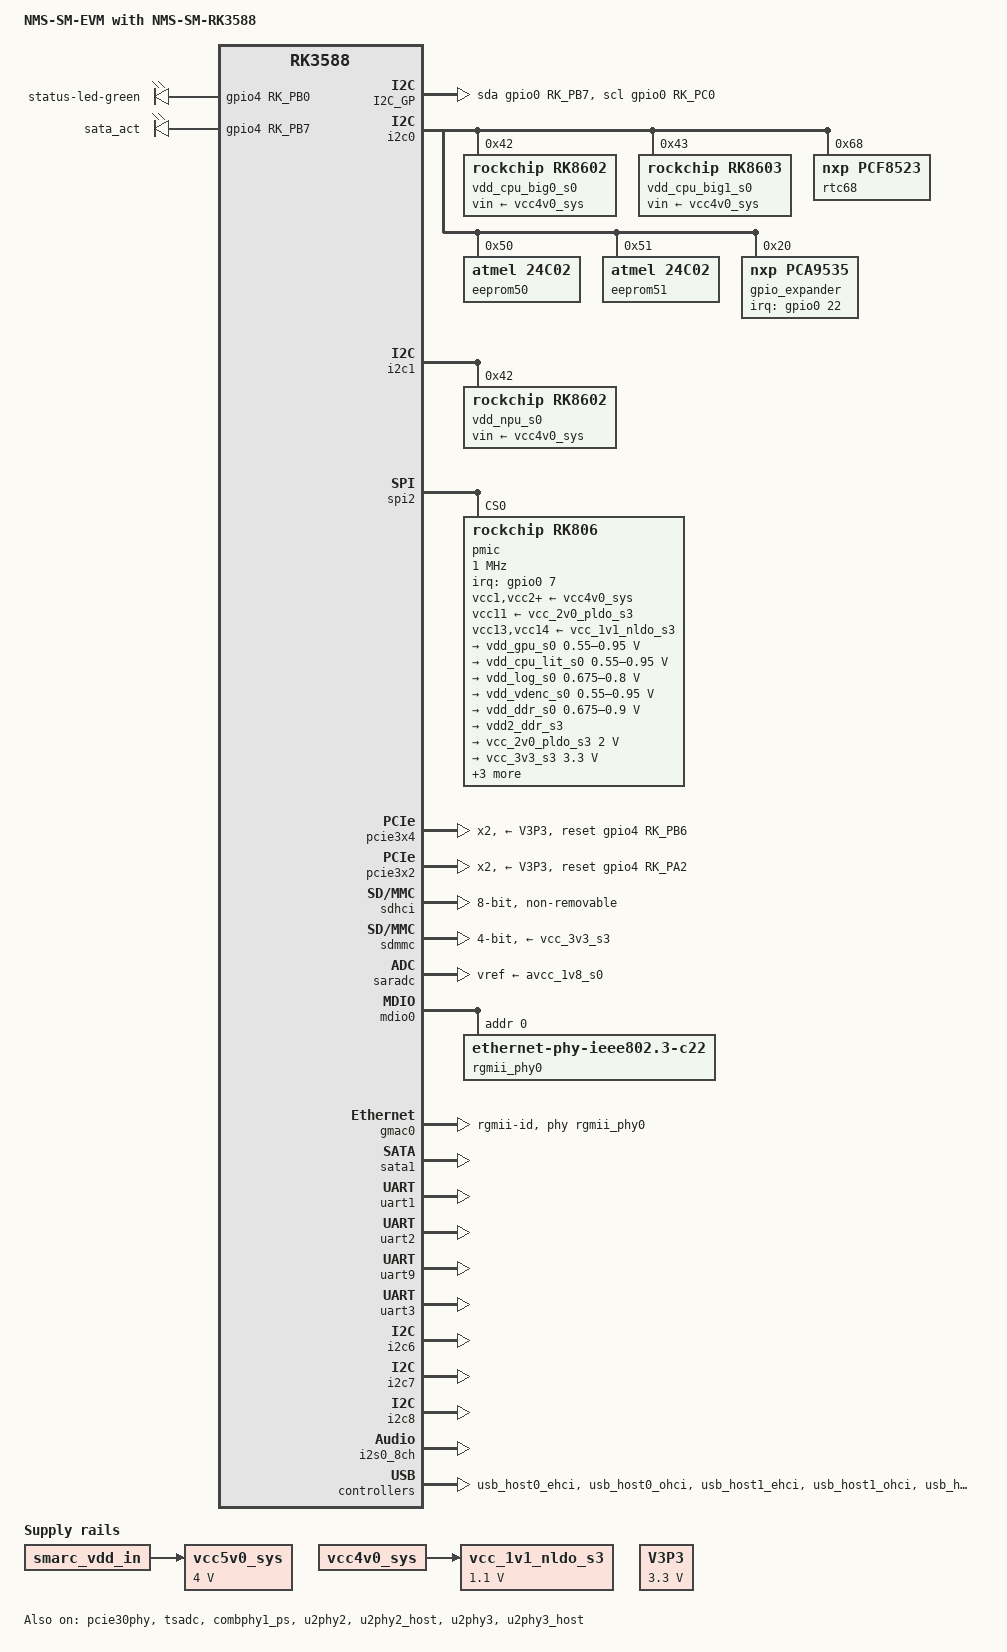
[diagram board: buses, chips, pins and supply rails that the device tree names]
// SPDX-License-Identifier: (GPL-2.0+ OR MIT)

/dts-v1/;

#include <dt-bindings/gpio/gpio.h>
#include <dt-bindings/leds/common.h>
#include "rk3588.dtsi"

#define SATA 1

#define GBE0 1
#define GBE1 0

#define SDIO 1


/ {
	model = "NMS-SM-EVM with NMS-SM-RK3588";
	compatible = "inmys,rk3588-smarc-evm", "rockchip,rk3588";

	chosen {
		stdout-path = "serial2:1500000n8";
	};

	aliases {
		mmc0 = &sdhci; /*emmc*/
		mmc1 = &sdmmc; /*sdcard*/
		ethernet0 = &gmac0; /*SMARC: GBE0*/
		ethernet1 = &gmac1; /*SMARC: GBE1*/
	};

	gpio_leds: gpio-leds {
		compatible = "gpio-leds";
		pinctrl-names = "default";
		
		status-led-green {
			gpios = <&gpio4 RK_PB0 GPIO_ACTIVE_HIGH>;
			linux,default-trigger = "heartbeat";
			default-state = "on";
		};
	};
};

/* power supply */
/{
	V3P3: SMARC_CARRIER_PWR_ON {
		/* enable 3v3 main power on mother board, by pmic pin "EXT_EN" */
		/* CARRIER_PWR_ON->S154->CARRIER_PWR_ON */
		compatible = "regulator-fixed";
		regulator-name = "SMARC_CARRIER_PWR_ON";
		regulator-min-microvolt = <3300000>;
		regulator-max-microvolt = <3300000>;
		regulator-boot-on;
	};

	vcc5v0_sys: vcc4v0_sys: vcc4v0-sys-regulator {
		/* RT5789AGQUF: input: smarc_vdd_in, output: 4V (rockcip rk806 recomendation) */
		compatible = "regulator-fixed";
		regulator-name = "vcc4v0_sys";
		regulator-always-on;
		regulator-boot-on;
		regulator-min-microvolt = <4000000>;
		regulator-max-microvolt = <4000000>;
		vin-supply = <&smarc_vdd_in>;
	};

	vcc_1v1_nldo_s3: vcc-1v1-nldo-s3-regulator {
		compatible = "regulator-fixed";
		regulator-name = "vcc_1v1_nldo_s3";
		regulator-always-on;
		regulator-boot-on;
		regulator-min-microvolt = <1100000>;
		regulator-max-microvolt = <1100000>;
		vin-supply = <&vcc4v0_sys>;
	};
};


&i2c0 {
	pinctrl-names = "default";
	pinctrl-0 = <&i2c0m2_xfer>;
	status = "okay";

	vdd_cpu_big0_s0: regulator@42 {
		compatible = "rockchip,rk8602";
		reg = <0x42>;
		fcs,suspend-voltage-selector = <1>;
		regulator-name = "vdd_cpu_big0_s0";
		regulator-always-on;
		regulator-boot-on;
		regulator-min-microvolt = <675000>;
		regulator-max-microvolt = <1050000>;
		regulator-ramp-delay = <2300>;
		vin-supply = <&vcc4v0_sys>;

		regulator-state-mem {
			regulator-off-in-suspend;
		};
	};

	vdd_cpu_big1_s0: regulator@43 {
		compatible = "rockchip,rk8603", "rockchip,rk8602";
		reg = <0x43>;
		fcs,suspend-voltage-selector = <1>;
		regulator-name = "vdd_cpu_big1_s0";
		regulator-always-on;
		regulator-boot-on;
		regulator-min-microvolt = <675000>;
		regulator-max-microvolt = <1050000>;
		regulator-ramp-delay = <2300>;
		vin-supply = <&vcc4v0_sys>;

		regulator-state-mem {
			regulator-off-in-suspend;
		};
	};
	/* i2c0 has other devices - see bellow! */
};

&i2c1 {
	pinctrl-names = "default";
	pinctrl-0 = <&i2c1m2_xfer>;
	status = "okay";

	vdd_npu_s0: regulator@42 {
		compatible = "rockchip,rk8602";
		reg = <0x42>;
		fcs,suspend-voltage-selector = <1>;
		regulator-name = "vdd_npu_s0";
		regulator-always-on;
		regulator-boot-on;
		regulator-min-microvolt = <675000>;
		regulator-max-microvolt = <950000>;
		regulator-ramp-delay = <2300>;
		vin-supply = <&vcc4v0_sys>;

		regulator-state-mem {
			regulator-off-in-suspend;
		};
	};
};

&spi2 {
	status = "okay";
	assigned-clocks = <&cru CLK_SPI2>;
	assigned-clock-rates = <200000000>;
	pinctrl-names = "default";
	pinctrl-0 = <&spi2m2_cs0 &spi2m2_pins>;
	num-cs = <1>;

	pmic@0 {
		compatible = "rockchip,rk806";
		spi-max-frequency = <1000000>;
		reg = <0x0>;

		interrupt-parent = <&gpio0>;
		interrupts = <7 IRQ_TYPE_LEVEL_LOW>;

		pinctrl-names = "default";
		pinctrl-0 = <&pmic_pins_my>, <&rk806_dvs1_null>,
			    <&rk806_dvs2_null>, <&rk806_dvs3_null>;

		system-power-controller;

		vcc1-supply = <&vcc4v0_sys>;
		vcc2-supply = <&vcc4v0_sys>;
		vcc3-supply = <&vcc4v0_sys>;
		vcc4-supply = <&vcc4v0_sys>;
		vcc5-supply = <&vcc4v0_sys>;
		vcc6-supply = <&vcc4v0_sys>;
		vcc7-supply = <&vcc4v0_sys>;
		vcc8-supply = <&vcc4v0_sys>;
		vcc9-supply = <&vcc4v0_sys>;
		vcc10-supply = <&vcc4v0_sys>;
		vcc11-supply = <&vcc_2v0_pldo_s3>;
		vcc12-supply = <&vcc4v0_sys>;
		vcc13-supply = <&vcc_1v1_nldo_s3>;
		vcc14-supply = <&vcc_1v1_nldo_s3>;
		vcca-supply = <&vcc4v0_sys>;

		gpio-controller;
		#gpio-cells = <2>;

		rk806_dvs1_null: dvs1-null-pins {
			/* pwrctrl1 not used: 0-no effect  */
			pins = "gpio_pwrctrl1";
			function = "pin_fun0";
		};

		rk806_dvs2_null: dvs2-null-pins {
			/* pwrctrl2 not used: 0-no effect  */
			pins = "gpio_pwrctrl2";
			function = "pin_fun0";
		};

		rk806_dvs3_null: dvs3-null-pins {
			pins = "gpio_pwrctrl3";
			function = "pin_fun0";
		};

		regulators {
			vdd_gpu_s0: vdd_gpu_mem_s0: dcdc-reg1 {
				regulator-boot-on;
				regulator-min-microvolt = <550000>;
				regulator-max-microvolt = <950000>;
				regulator-ramp-delay = <12500>;
				regulator-name = "vdd_gpu_s0";
				regulator-enable-ramp-delay = <400>;

				regulator-state-mem {
					regulator-off-in-suspend;
				};
			};

			vdd_cpu_lit_s0: vdd_cpu_lit_mem_s0: dcdc-reg2 {
				regulator-always-on;
				regulator-boot-on;
				regulator-min-microvolt = <550000>;
				regulator-max-microvolt = <950000>;
				regulator-ramp-delay = <12500>;
				regulator-name = "vdd_cpu_lit_s0";

				regulator-state-mem {
					regulator-off-in-suspend;
				};
			};

			vdd_log_s0: dcdc-reg3 {
				regulator-always-on;
				regulator-boot-on;
				regulator-min-microvolt = <675000>;
				regulator-max-microvolt = <800000>;
				regulator-ramp-delay = <12500>;
				regulator-name = "vdd_log_s0";

				regulator-state-mem {
					regulator-off-in-suspend;
					regulator-suspend-microvolt = <750000>;
				};
			};

			vdd_vdenc_s0: vdd_vdenc_mem_s0: dcdc-reg4 {
				regulator-always-on;
				regulator-boot-on;
				regulator-min-microvolt = <550000>;
				regulator-max-microvolt = <950000>;
				regulator-ramp-delay = <12500>;
				regulator-name = "vdd_vdenc_s0";

				regulator-state-mem {
					regulator-off-in-suspend;
				};
			};

			vdd_ddr_s0: dcdc-reg5 {
				regulator-always-on;
				regulator-boot-on;
				regulator-min-microvolt = <675000>;
				regulator-max-microvolt = <900000>;
				regulator-ramp-delay = <12500>;
				regulator-name = "vdd_ddr_s0";

				regulator-state-mem {
					regulator-off-in-suspend;
					regulator-suspend-microvolt = <850000>;
				};
			};

			vdd2_ddr_s3: dcdc-reg6 {
				regulator-always-on;
				regulator-boot-on;
				regulator-name = "vdd2_ddr_s3";

				regulator-state-mem {
					regulator-on-in-suspend;
				};
			};

			vcc_2v0_pldo_s3: dcdc-reg7 {
				regulator-always-on;
				regulator-boot-on;
				regulator-min-microvolt = <2000000>;
				regulator-max-microvolt = <2000000>;
				regulator-ramp-delay = <12500>;
				regulator-name = "vdd_2v0_pldo_s3";

				regulator-state-mem {
					regulator-on-in-suspend;
					regulator-suspend-microvolt = <2000000>;
				};
			};

			vcc_3v3_s3: dcdc-reg8 {
				regulator-always-on;
				regulator-boot-on;
				regulator-min-microvolt = <3300000>;
				regulator-max-microvolt = <3300000>;
				regulator-name = "vcc_3v3_s3";

				regulator-state-mem {
					regulator-on-in-suspend;
					regulator-suspend-microvolt = <3300000>;
				};
			};

			vddq_ddr_s0: dcdc-reg9 {
				regulator-always-on;
				regulator-boot-on;
				regulator-name = "vddq_ddr_s0";

				regulator-state-mem {
					regulator-off-in-suspend;
				};
			};

			vcc_1v8_s3: dcdc-reg10 {
				regulator-always-on;
				regulator-boot-on;
				regulator-min-microvolt = <1800000>;
				regulator-max-microvolt = <1800000>;
				regulator-name = "vcc_1v8_s3";

				regulator-state-mem {
					regulator-on-in-suspend;
					regulator-suspend-microvolt = <1800000>;
				};
			};

			avcc_1v8_s0: pldo-reg1 {
				regulator-always-on;
				regulator-boot-on;
				regulator-min-microvolt = <1800000>;
				regulator-max-microvolt = <1800000>;
				regulator-name = "avcc_1v8_s0";

				regulator-state-mem {
					regulator-on-in-suspend;
					regulator-suspend-microvolt = <1800000>;
				};
			};

			vcc_1v8_s0: pldo-reg2 {
				regulator-always-on;
				regulator-boot-on;
				regulator-min-microvolt = <1800000>;
				regulator-max-microvolt = <1800000>;
				regulator-name = "vcc_1v8_s0";

				regulator-state-mem {
					regulator-off-in-suspend;
					regulator-suspend-microvolt = <1800000>;
				};
			};

			avdd_1v2_s0: pldo-reg3 {
				regulator-always-on;
				regulator-boot-on;
				regulator-min-microvolt = <1200000>;
				regulator-max-microvolt = <1200000>;
				regulator-name = "avdd_1v2_s0";

				regulator-state-mem {
					regulator-off-in-suspend;
				};
			};

			vcc_3v3_s0: pldo-reg4 {
				regulator-always-on;
				regulator-boot-on;
				regulator-min-microvolt = <3300000>;
				regulator-max-microvolt = <3300000>;
				regulator-ramp-delay = <12500>;
				regulator-name = "vcc_3v3_s0";

				regulator-state-mem {
					regulator-on-in-suspend;
					regulator-suspend-microvolt = <3300000>;
				};
			};

			vccio_sd_s0: pldo-reg5 {
				regulator-always-on;
				regulator-boot-on;
				regulator-min-microvolt = <1800000>;
				regulator-max-microvolt = <3300000>;
				regulator-ramp-delay = <12500>;
				regulator-name = "vccio_sd_s0";

				regulator-state-mem {
					regulator-off-in-suspend;
				};
			};

			pldo6_s3: pldo-reg6 {
				regulator-always-on;
				regulator-boot-on;
				regulator-min-microvolt = <1800000>;
				regulator-max-microvolt = <1800000>;
				regulator-name = "pldo6_s3";

				regulator-state-mem {
					regulator-on-in-suspend;
					regulator-suspend-microvolt = <1800000>;
				};
			};

			vdd_0v75_s3: nldo-reg1 {
				regulator-always-on;
				regulator-boot-on;
				regulator-min-microvolt = <750000>;
				regulator-max-microvolt = <750000>;
				regulator-name = "vdd_0v75_s3";

				regulator-state-mem {
					regulator-on-in-suspend;
					regulator-suspend-microvolt = <750000>;
				};
			};

			vdd_ddr_pll_s0: nldo-reg2 {
				regulator-always-on;
				regulator-boot-on;
				regulator-min-microvolt = <850000>;
				regulator-max-microvolt = <850000>;
				regulator-name = "vdd_ddr_pll_s0";

				regulator-state-mem {
					regulator-on-in-suspend;
					regulator-suspend-microvolt = <850000>;
				};
			};

			avdd_0v75_s0: nldo-reg3 {
				regulator-always-on;
				regulator-boot-on;
				regulator-min-microvolt = <837500>;
				regulator-max-microvolt = <837500>;
				regulator-name = "avdd_0v75_s0";

				regulator-state-mem {
					regulator-on-in-suspend;
					regulator-suspend-microvolt = <837500>;
				};
			};

			vdd_0v85_s0: nldo-reg4 {
				regulator-always-on;
				regulator-boot-on;
				regulator-min-microvolt = <850000>;
				regulator-max-microvolt = <850000>;
				regulator-name = "vdd_0v85_s0";

				regulator-state-mem {
					regulator-off-in-suspend;
				};
			};

			vdd_0v75_s0: nldo-reg5 {
				regulator-always-on;
				regulator-boot-on;
				regulator-min-microvolt = <750000>;
				regulator-max-microvolt = <750000>;
				regulator-name = "vdd_0v75_s0";

				regulator-state-mem {
					regulator-off-in-suspend;
				};
			};
		};
	};
};

&pinctrl {
	pmic {
		/omit-if-no-ref/
		pmic_pins_my: pmic-pins {
			rockchip,pins =
				/* pmic_int_l */
				<0 RK_PA7 0 &pcfg_pull_up>,
				/* pmic_sleep1 */
				<0 RK_PA2 1 &pcfg_pull_none>,
				/* pmic_sleep2 */
				<0 RK_PA3 1 &pcfg_pull_none>,
				/* pmic_sleep3 */
				<0 RK_PC1 1 &pcfg_pull_none>,
				/*  use gpio for enable pcie clk buf */
				<0 RK_PC2 0 &pcfg_pull_up>,
				/* pmic_sleep5 */
				<0 RK_PC3 1 &pcfg_pull_none>,
				/* pmic_sleep6 */
				<0 RK_PD6 1 &pcfg_pull_none>;
		};
	};
};



&cpu_b0 {
	cpu-supply = <&vdd_cpu_big0_s0>;
};

&cpu_b1 {
	cpu-supply = <&vdd_cpu_big0_s0>;
};

&cpu_b2 {
	cpu-supply = <&vdd_cpu_big1_s0>;
};

&cpu_b3 {
	cpu-supply = <&vdd_cpu_big1_s0>;
};

&cpu_l0 {
	cpu-supply = <&vdd_cpu_lit_s0>;
};

&cpu_l1 {
	cpu-supply = <&vdd_cpu_lit_s0>;
};

&cpu_l2 {
	cpu-supply = <&vdd_cpu_lit_s0>;
};

&cpu_l3 {
	cpu-supply = <&vdd_cpu_lit_s0>;
};

//#define PCIE30_PHY_MODE 4 // x4
#define PCIE30_PHY_MODE 0 // x2_x2

#if PCIE30_PHY_MODE == 4
/* 
SMARC_PCIE_A is LN0 on controller0
SMARC_PCIE_B is LN1 on controller0
SMARC_PCIE_C is LN2 on controller0
SMARC_PCIE_D is LN3 on controller0
*/
&pcie30phy {
	status = "okay";
};

&pcie3x4 {
	//pinctrl-names = "default";
	//pinctrl-0 = <&pcie3_rst>;
	reset-gpios = <&gpio4 RK_PB6 GPIO_ACTIVE_HIGH>;
	vpcie3v3-supply = <&V3P3>;
	status = "okay";
};

#elif PCIE30_PHY_MODE == 0
/*
SMARC_PCIE_A is LN0 on controller0
SMARC_PCIE_B is LN1 on controller0
SMARC_PCIE_C is LN0 on controller1
SMARC_PCIE_D is LN1 on controller1
*/
&pcie30phy {
	data_lines= <1 2>;
	status = "okay";
};

&pcie3x4 {
	num-lanes = <2>;
	//pinctrl-names = "default";
	//pinctrl-0 = <&pcie3_rst>;
	reset-gpios = <&gpio4 RK_PB6 GPIO_ACTIVE_HIGH>;
	vpcie3v3-supply = <&V3P3>;
	status = "okay";
};

&pcie3x2 {
	num-lanes = <2>;
	//pinctrl-names = "default";
	//pinctrl-0 = <&pcie3_rst>;
	reset-gpios = <&gpio4 RK_PA2 GPIO_ACTIVE_HIGH>;
	vpcie3v3-supply = <&V3P3>;
	status = "okay";
};
#endif


&i2c0 {
	rtc68: pcf8523@68 {
		compatible = "nxp,pcf8523";
		reg = <0x68>;
		quartz-load-femtofarads = <12500>;
#if 0
		/*rtcint GPIO0_B0*/
		interrupt-parent = <&gpio0>;
		interrupts = <8 IRQ_TYPE_LEVEL_LOW>;
		wakeup-source;
#endif	
	};
	eeprom50: eeprom@50 {
		compatible = "atmel,24c02";
		reg = <0x50>;
		gmac0_mac: mac@0xfa {
			reg = <0xfa 6>;
		};
	};
	eeprom51: eeprom@51 {
		compatible = "atmel,24c02";
		reg = <0x51>;
		gmac1_mac: mac@0xfa {
			reg = <0xfa 6>;
		};

	};

	gpio_expander: tpt29555@20 {
		compatible = "nxp,pca9535";
		reg = <0x20>;
		/* irq:  gpio0_c6 */
		interrupt-parent = <&gpio0>;
		interrupts = <22 IRQ_TYPE_LEVEL_LOW>;
		interrupt-controller;
		#interrupt-cells = <2>;
		gpio-controller;
		#gpio-cells = <2>;
		gpio-line-names =
			"LCD0_BKLT_EN","LCD1_BKLT_EN","LCD0_VDD_EN","LCD1_VDD_EN","","","","",
			"USB3_ENA","USB2_ENA","USB1_ENA","USB0_ENA","USB3_SENS","USB2_SENS","USB1_SENS","USB0_SENS";
	};

};

#if 0
&gpu {
	mali-supply = <&vdd_gpu_s0>;
	mem-supply = <&vdd_gpu_mem_s0>;
	status = "okay";
};
#endif

/* emmc */
&sdhci {
	bus-width = <8>;
	no-sdio;
	no-sd;
	non-removable;
	mmc-hs400-1_8v;
	mmc-hs400-enhanced-strobe;
	status = "okay";
};

#if SDIO
/* SMARC: SDIO */
&sdmmc {
	max-frequency = <200000000>;
	no-sdio;
	no-mmc;
	bus-width = <4>;
	cap-mmc-highspeed;
	cap-sd-highspeed;
	disable-wp;
	sd-uhs-sdr104;
	vmmc-supply = <&vcc_3v3_s3>;
	vqmmc-supply = <&vccio_sd_s0>;
	status = "okay";
};
#endif // end SDIO

&saradc {
	vref-supply = <&avcc_1v8_s0>;
	status = "okay";
};

&tsadc {
	status = "okay";
};

#if GBE0
&mdio0 {
	rgmii_phy0: phy@0 {
		compatible = "ethernet-phy-ieee802.3-c22";
		reg = <0x0>;
#if 0
		reset-assert-us = <20000>;
		reset-deassert-us = <100000>;
		reset-gpios = <&gpio4 RK_PC6 GPIO_ACTIVE_LOW>;
#endif
	};
};

&gmac0 {
	clock_in_out = "output";
	phy-handle = <&rgmii_phy0>;
	//phy-mode = "rgmii-rxid";
	phy-mode = "rgmii-id";

	pinctrl-0 = <&gmac0_miim
		&gmac0_tx_bus2
		&gmac0_rx_bus2
		&gmac0_rgmii_clk
		&gmac0_rgmii_bus>;
	pinctrl-names = "default";
	rx_delay = <0x00>;
	tx_delay = <0x43>;
	status = "okay";

	/* MAC address stored in eeprom50 */
	nvmem-cells = <&gmac0_mac>;
	nvmem-cell-names = "mac-address";
};
#endif // end GBE0

#if GBE1
&mdio1 {
	rgmii_phy1: phy@0 {
		compatible = "ethernet-phy-ieee802.3-c22";
		reg = <0x0>;
#if 0
		reset-assert-us = <20000>;
		reset-deassert-us = <100000>;
		reset-gpios = <&gpio3 RK_PC6 GPIO_ACTIVE_LOW>;
#endif
	};
};

&gmac1 {
	clock_in_out = "output";
	phy-handle = <&rgmii_phy1>;
	//phy-mode = "rgmii-rxid";
	phy-mode = "rgmii-id";

	pinctrl-0 = <&gmac1_miim
		&gmac1_tx_bus2
		&gmac1_rx_bus2
		&gmac1_rgmii_clk
		&gmac1_rgmii_bus>;
	pinctrl-names = "default";
	rx_delay = <0x00>;
	tx_delay = <0x43>;
	status = "okay";

	/* MAC address stored in eeprom51 */
	nvmem-cells = <&gmac1_mac>;
	nvmem-cell-names = "mac-address";

};
#endif // end GBE1

#if SATA
/* SMARC: SATA (P48,P49 P51,P52) */
&combphy1_ps{
	status = "okay";
};

&sata1 {
	status = "okay";
};

/* SMARC: SATA_ACT (S54) */
&gpio_leds{
	sata_act {
		gpios = <&gpio4 RK_PB7 GPIO_ACTIVE_HIGH>;
		linux,default-trigger = "disk-activity";
	};
};
#endif // end SATA


/* SMARC: SER0 */
&uart1 {
	status = "okay";
	pinctrl-0 = <&uart1m1_xfer &uart1m1_ctsn &uart1m1_rtsn>;	
};

/* SMARC: SER1 */
/* console */
&uart2 {
	status = "okay";
	pinctrl-0 = <&uart2m0_xfer>;
};

/* SMARC: SER2 */
&uart9 {
	status = "okay";
	pinctrl-0 = <&uart9m2_xfer &uart9m2_ctsn &uart9m2_rtsn>;
};

/* SMARC: SER3 */
&uart3 {
	status = "okay";
	pinctrl-0 = <&uart3m0_xfer>;
};

/* SMARC: I2C_PM */
I2C_PM: &i2c6 {
	status = "okay";
	pinctrl-names = "default";
	pinctrl-0 = <&i2c6m0_xfer>;
};

/* SMARC: i2C_CAM0 */
I2C_CAM0: &i2c7 {
	status = "okay";
	pinctrl-names = "default";
	pinctrl-0 = <&i2c7m0_xfer>;
};

/* SMARC: I2C_GP */
#if 0
I2C_GP: &i2c2{
	status = "okay";
	pinctrl-names = "default";
	pinctrl-0 = <&i2c2m0_xfer>;
#else
/* hack: on som rev1 sda/scl is swapped */
/{
	/*i2c2m0_by_gpio*/
	I2C_GP: i2c2m0-by-gpio {
		compatible = "i2c-gpio";
		/* swap sda/scl */
		sda-gpios = <&gpio0 RK_PB7 (GPIO_ACTIVE_HIGH|GPIO_OPEN_DRAIN)>;
		scl-gpios = <&gpio0 RK_PC0 (GPIO_ACTIVE_HIGH|GPIO_OPEN_DRAIN)>;
		i2c-gpio,delay-us = <2>;	/* ~100 kHz */
		#address-cells = <1>;
		#size-cells = <0>;
	};
};
#endif

/* SMARC: I2C_LCD */
I2C_LCD: &i2c8 {
	status = "okay";
	pinctrl-0 = <&i2c8m3_xfer>;
};

/* SMARC: I2S0 */
&i2s0_8ch {
	status = "okay";
	#sound-dai-cells = <0>;
	pinctrl-names = "default";
	pinctrl-0 = <&i2s0_lrck
		&i2s0_sclk
		&i2s0_sdi0
		&i2s0_sdo0>;
};

&u2phy2 {
	status = "okay";
};

&u2phy2_host {
	/* connected to USB hub, which is powered by vcc5v0_sys */
//	phy-supply = <&vcc5v0_sys>;
	status = "okay";
};

&u2phy3 {
	status = "okay";
};

&u2phy3_host {
//	phy-supply = <&vcc5v0_host>;
	status = "okay";
};

&usb_host0_ehci {
	status = "okay";
};

&usb_host0_ohci {
	status = "okay";
};

&usb_host1_ehci {
	status = "okay";
};

&usb_host1_ohci {
	status = "okay";
};

&usb_host2_xhci {
	status = "okay";
};


&gpio0 {
	gpio-line-names =
		"GPIO0_A0","GPIO0_A1","GPIO0_A2","GPIO0_A3","GPIO0_A4","GPIO0_A5","GPIO0_A6","GPIO0_A7",
		"GPIO0_B0","GPIO0_B1","GPIO0_B2","GPIO0_B3","GPIO0_B4","GPIO0_B5","GPIO0_B6","GPIO0_B7",
		"GPIO0_C0","GPIO0_C1","GPIO0_C2","GPIO0_C3","GPIO0_C4","GPIO0_C5","GPIO0_C6","GPIO0_C7",
		"GPIO0_D0","GPIO0_D1","GPIO0_D2","GPIO0_D3","GPIO0_D4","GPIO0_D5","GPIO0_D6","GPIO0_D7";
};

&gpio1 {
	gpio-line-names =
		"GPIO1_A0","GPIO1_A1","GPIO1_A2","GPIO1_A3","SMARC_GPIO12","GPIO1_A5","SMARC_GPIO11","GPIO1_A7",
		"GPIO1_B0","GPIO1_B1","GPIO1_B2","GPIO1_B3","GPIO1_B4","GPIO1_B5","GPIO1_B6","GPIO1_B7",
		"GPIO1_C0","GPIO1_C1","GPIO1_C2","GPIO1_C3","SMARC_GPIO0","GPIO1_C5","SMARC_GPIO1","GPIO1_C7",
		"GPIO1_D0","GPIO1_D1","GPIO1_D2","SMARC_PWM_OUT","GPIO1_D4","SMARC_GPIO13","GPIO1_D6","GPIO1_D7";
};

&gpio2 {
	gpio-line-names =
		"GPIO2_A0","GPIO2_A1","GPIO2_A2","GPIO2_A3","GPIO2_A4","GPIO2_A5","GPIO2_A6","GPIO2_A7",
		"GPIO2_B0","GPIO2_B1","GPIO2_B2","GPIO2_B3","SMARC_GPIO3","SMARC_GPIO2","GPIO2_B6","GPIO2_B7",
		"GPIO2_C0","GPIO2_C1","GPIO2_C2","SMARC_GPIO4","SMARC_GPIO6","SMARC_GPIO7","GPIO2_C6","GPIO2_C7",
		"GPIO2_D0","GPIO2_D1","GPIO2_D2","GPIO2_D3","GPIO2_D4","GPIO2_D5","GPIO2_D6","GPIO2_D7";
};

&gpio3 {
	gpio-line-names =
		"GPIO3_A0","GPIO3_A1","GPIO3_A2","GPIO3_A3","GPIO3_A4","GPIO3_A5","GPIO3_A6","GPIO3_A7",
		"GPIO3_B0","GPIO3_B1","GPIO3_B2","GPIO3_B3","GPIO3_B4","GPIO3_B5","SMARC_GPIO9","GPIO3_B7",
		"GPIO3_C0","SMARC_GPIO8","GPIO3_C2","GPIO3_C3","GPIO3_C4","GPIO3_C5","GPIO3_C6","GPIO3_C7",
		"GPIO3_D0","SMARC_GPIO10","GPIO3_D2","GPIO3_D3","GPIO3_D4","GPIO3_D5","GPIO3_D6","GPIO3_D7";
};

&gpio4 {
	gpio-line-names =
		"GPIO4_A0","GPIO4_A1","GPIO4_A2","GPIO4_A3","GPIO4_A4","GPIO4_A5","GPIO4_A6","GPIO4_A7",
		"GPIO4_B0","GPIO4_B1","GPIO4_B2","GPIO4_B3","GPIO4_B4","GPIO4_B5","GPIO4_B6","GPIO4_B7",
		"GPIO4_C0","GPIO4_C1","GPIO4_C2","GPIO4_C3","GPIO4_C4","GPIO4_C5","GPIO4_C6","GPIO4_C7",
		"GPIO4_D0","GPIO4_D1","GPIO4_D2","GPIO4_D3","GPIO4_D4","GPIO4_D5","GPIO4_D6","GPIO4_D7";
};


